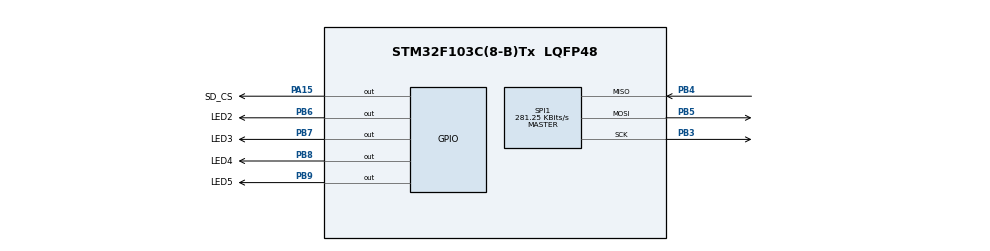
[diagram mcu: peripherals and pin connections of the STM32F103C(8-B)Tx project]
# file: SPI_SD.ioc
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Mcu.Family=STM32F1
Mcu.Name=STM32F103C(8-B)Tx
Mcu.Package=LQFP48
NVIC.PriorityGroup=NVIC_PRIORITYGROUP_4
PA13.Mode=Serial_Wire
PA13.Signal=SYS_JTMS-SWDIO
PA14.Mode=Serial_Wire
PA14.Signal=SYS_JTCK-SWCLK
PA15.GPIO_Label=SD_CS
PA15.GPIO_Speed=GPIO_SPEED_FREQ_HIGH
PA15.Signal=GPIO_Output
PB3.Mode=Full_Duplex_Master
PB3.Signal=SPI1_SCK
PB4.Mode=Full_Duplex_Master
PB4.Signal=SPI1_MISO
PB5.Mode=Full_Duplex_Master
PB5.Signal=SPI1_MOSI
PB6.GPIO_Label=LED2
PB6.GPIO_Speed=GPIO_SPEED_FREQ_HIGH
PB6.PinState=GPIO_PIN_SET
PB6.Signal=GPIO_Output
PB7.GPIO_Label=LED3
PB7.GPIO_Speed=GPIO_SPEED_FREQ_HIGH
PB7.PinState=GPIO_PIN_SET
PB7.Signal=GPIO_Output
PB8.GPIO_Label=LED4
PB8.GPIO_Speed=GPIO_SPEED_FREQ_HIGH
PB8.PinState=GPIO_PIN_SET
PB8.Signal=GPIO_Output
PB9.GPIO_Label=LED5
PB9.GPIO_Speed=GPIO_SPEED_FREQ_HIGH
PB9.PinState=GPIO_PIN_SET
PB9.Signal=GPIO_Output
PD0-OSC_IN.Mode=HSE-External-Oscillator
PD0-OSC_IN.Signal=RCC_OSC_IN
PD1-OSC_OUT.Mode=HSE-External-Oscillator
PD1-OSC_OUT.Signal=RCC_OSC_OUT
ProjectManager.HeapSize=0x200
ProjectManager.StackSize=0x400
ProjectManager.TargetToolchain=MDK-ARM V5
RCC.AHBFreq_Value=72000000
RCC.APB1CLKDivider=RCC_HCLK_DIV2
RCC.APB1Freq_Value=36000000
RCC.APB1TimFreq_Value=72000000
RCC.APB2Freq_Value=72000000
RCC.APB2TimFreq_Value=72000000
RCC.EnbaleCSS=true
RCC.HCLKFreq_Value=72000000
RCC.HSE_VALUE=12000000
RCC.PLLMUL=RCC_PLL_MUL6
RCC.PLLSourceVirtual=RCC_PLLSOURCE_HSE
RCC.PREFETCH_ENABLE=1
RCC.SYSCLKFreq_VALUE=72000000
RCC.SYSCLKSource=RCC_SYSCLKSOURCE_PLLCLK
RCC.USBFreq_Value=72000000
SPI1.BaudRatePrescaler=SPI_BAUDRATEPRESCALER_256
SPI1.CLKPhase=SPI_PHASE_2EDGE
SPI1.CLKPolarity=SPI_POLARITY_HIGH
SPI1.CalculateBaudRate=281.25 KBits/s
SPI1.Direction=SPI_DIRECTION_2LINES
SPI1.Mode=SPI_MODE_MASTER
SPI1.VirtualType=VM_MASTER
VP_FATFS_VS_Generic.Mode=User_defined
board=custom

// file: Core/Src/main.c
/* USER CODE BEGIN Header */
/**
  ******************************************************************************
  * @file           : main.c
  * @brief          : Main program body
  ******************************************************************************
  * This notice applies to any and all portions of this file
  * that are not between comment pairs USER CODE BEGIN and
  * USER CODE END. Other portions of this file, whether
  * inserted by the user or by software development tools
  * are owned by their respective copyright owners.
  *
  * Copyright (c) 2018 STMicroelectronics International N.V.
  * All rights reserved.
  *
  * Redistribution and use in source and binary forms, with or without
  * modification, are permitted, provided that the following conditions are met:
  *
  * 1. Redistribution of source code must retain the above copyright notice,
  *    this list of conditions and the following disclaimer.
  * 2. Redistributions in binary form must reproduce the above copyright notice,
  *    this list of conditions and the following disclaimer in the documentation
  *    and/or other materials provided with the distribution.
  * 3. Neither the name of STMicroelectronics nor the names of other
  *    contributors to this software may be used to endorse or promote products
  *    derived from this software without specific written permission.
  * 4. This software, including modifications and/or derivative works of this
  *    software, must execute solely and exclusively on microcontroller or
  *    microprocessor devices manufactured by or for STMicroelectronics.
  * 5. Redistribution and use of this software other than as permitted under
  *    this license is void and will automatically terminate your rights under
  *    this license.
  *
  * THIS SOFTWARE IS PROVIDED BY STMICROELECTRONICS AND CONTRIBUTORS "AS IS"
  * AND ANY EXPRESS, IMPLIED OR STATUTORY WARRANTIES, INCLUDING, BUT NOT
  * LIMITED TO, THE IMPLIED WARRANTIES OF MERCHANTABILITY, FITNESS FOR A
  * PARTICULAR PURPOSE AND NON-INFRINGEMENT OF THIRD PARTY INTELLECTUAL PROPERTY
  * RIGHTS ARE DISCLAIMED TO THE FULLEST EXTENT PERMITTED BY LAW. IN NO EVENT
  * SHALL STMICROELECTRONICS OR CONTRIBUTORS BE LIABLE FOR ANY DIRECT, INDIRECT,
  * INCIDENTAL, SPECIAL, EXEMPLARY, OR CONSEQUENTIAL DAMAGES (INCLUDING, BUT NOT
  * LIMITED TO, PROCUREMENT OF SUBSTITUTE GOODS OR SERVICES; LOSS OF USE, DATA,
  * OR PROFITS; OR BUSINESS INTERRUPTION) HOWEVER CAUSED AND ON ANY THEORY OF
  * LIABILITY, WHETHER IN CONTRACT, STRICT LIABILITY, OR TORT (INCLUDING
  * NEGLIGENCE OR OTHERWISE) ARISING IN ANY WAY OUT OF THE USE OF THIS SOFTWARE,
  * EVEN IF ADVISED OF THE POSSIBILITY OF SUCH DAMAGE.
  *
  ******************************************************************************
  */
/* USER CODE END Header */

#include "main.h"
#include "fatfs.h"
#include "spi.h"
#include "gpio.h"

/* USER CODE BEGIN Includes */
#include "BSP_SPI_SD.h"
/* USER CODE END Includes */

/* USER CODE BEGIN PV */

FRESULT res;
uint32_t byteswritten, bytesread;                     /* File write/read counts */
uint8_t wtext[] = "ABCDEFG FatFs"; /* File write buffer */
uint8_t rtext[100];
/* USER CODE END PV */

void SystemClock_Config(void);

int main(void)
{

  /* MCU Configuration--------------------------------------------------------*/

  /* Reset of all peripherals, Initializes the Flash interface and the Systick. */
  HAL_Init();

  /* Configure the system clock */
  SystemClock_Config();

  /* Initialize all configured peripherals */
  MX_GPIO_Init();
  MX_SPI1_Init();
  MX_FATFS_Init();
  /* USER CODE BEGIN 2 */
		LL_mDelay(1000);
//		SD_Init();
//		xMB=SD_GetSectorCount();

		res=f_mount(&USERFatFS,(const TCHAR *)USERPath,1);
  if(res)
		{
		while(1);
		}

  res=f_open(&USERFile, "Date.TXT", FA_CREATE_ALWAYS | FA_WRITE) ;
		res = f_write(&USERFile, wtext, sizeof(wtext), (void *)&byteswritten);
		if((byteswritten == 0) || (res != FR_OK))
			 {
						/* 'STM32.TXT' file Write or EOF Error */
						Error_Handler();
				}
		else
				{
						/* Close the open text file */
						f_close(&USERFile);
				}
		FATFS_UnLinkDriver(USERPath);
//  while ( SD_WaitReady() ) ;
//
//		SD_GetCID(CID);
  /* USER CODE END 2 */

  /* Infinite loop */
  while (1)
  {

  }
}

void SystemClock_Config(void)
{
  LL_FLASH_SetLatency(LL_FLASH_LATENCY_2);

   if(LL_FLASH_GetLatency() != LL_FLASH_LATENCY_2)
  {
    Error_Handler();
  }
  LL_RCC_HSE_Enable();

   /* Wait till HSE is ready */
  while(LL_RCC_HSE_IsReady() != 1)
  {

  }
  LL_RCC_HSE_EnableCSS();
  LL_RCC_PLL_ConfigDomain_SYS(LL_RCC_PLLSOURCE_HSE_DIV_1, LL_RCC_PLL_MUL_6);
  LL_RCC_PLL_Enable();

   /* Wait till PLL is ready */
  while(LL_RCC_PLL_IsReady() != 1)
  {

  }
  LL_RCC_SetAHBPrescaler(LL_RCC_SYSCLK_DIV_1);
  LL_RCC_SetAPB1Prescaler(LL_RCC_APB1_DIV_2);
  LL_RCC_SetAPB2Prescaler(LL_RCC_APB2_DIV_1);
  LL_RCC_SetSysClkSource(LL_RCC_SYS_CLKSOURCE_PLL);

   /* Wait till System clock is ready */
  while(LL_RCC_GetSysClkSource() != LL_RCC_SYS_CLKSOURCE_STATUS_PLL)
  {

  }
  LL_Init1msTick(72000000);
  LL_SYSTICK_SetClkSource(LL_SYSTICK_CLKSOURCE_HCLK);
  LL_SetSystemCoreClock(72000000);
}

void Error_Handler(void)
{
  /* USER CODE BEGIN Error_Handler_Debug */
  /* User can add his own implementation to report the HAL error return state */
   while(1);
  /* USER CODE END Error_Handler_Debug */
}

/************************ (C) COPYRIGHT STMicroelectronics *****END OF FILE****/
